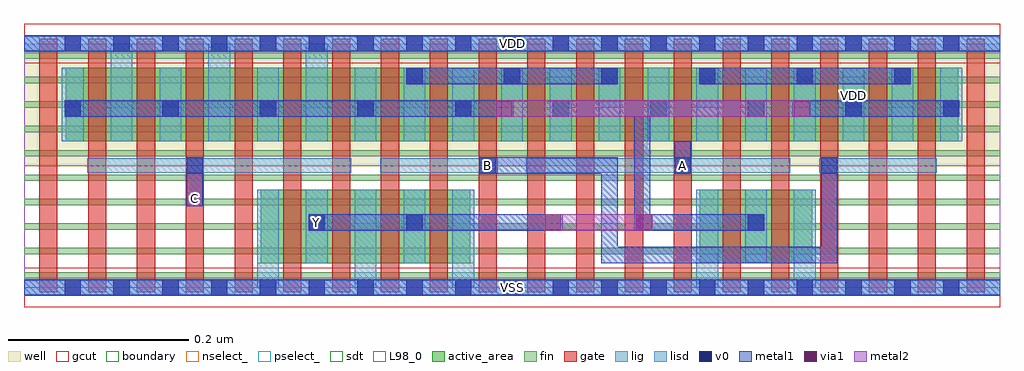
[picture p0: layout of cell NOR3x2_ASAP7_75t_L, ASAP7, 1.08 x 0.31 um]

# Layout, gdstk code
import gdstk
lib = gdstk.Library(unit=1e-6, precision=2.5e-10)
def R(c, l, rs):  # rectangles x0, y0, x1, y1
    for r in rs: c.add(gdstk.rectangle(r[:2], r[2:], *l))
def A(c, l, x, y, w, h, nx, ny, dx, dy):  # array of equal rectangles
    R(c, l, [(x+i*dx, y+j*dy, x+i*dx+w, y+j*dy+h) for i in range(nx) for j in range(ny)])
def P(c, l, *ps):  # polygons
    for p in ps: c.add(gdstk.Polygon(p, *l))
well = (1, 0)
fin = (2, 0)
gate = (7, 0)
gcut = (10, 0)
active_area = (11, 0)
nselect_ = (12, 0)
pselect_ = (13, 0)
lig = (16, 0)
lisd = (17, 0)
v0 = (18, 0)
metal1 = (19, 0)
metal2 = (20, 0)
via1 = (21, 0)
sdt = (88, 0)
L98_0 = (98, 0)
boundary = (100, 0)

nor3x2_asap7_75t_l = lib.new_cell('NOR3x2_ASAP7_75t_L')
R(nor3x2_asap7_75t_l, well, [(0,0.135,1.08,0.27)])
A(nor3x2_asap7_75t_l, fin, 0, 0.01, 1.08, 0.007, 1, 10, 0, 0.027)
A(nor3x2_asap7_75t_l, gate, 0.017, -0.005, 0.02, 0.28, 20, 1, 0.054, 0)
R(nor3x2_asap7_75t_l, gcut, [(0,-0.022,1.08,0.022), (0,0.248,1.08,0.292)])
R(nor3x2_asap7_75t_l, active_area, [(0.262,0.027,0.494,0.108), (0.748,0.027,0.872,0.108), (0.046,0.162,1.034,0.243)])
R(nor3x2_asap7_75t_l, nselect_, [(0,0,1.08,0.135)])
R(nor3x2_asap7_75t_l, pselect_, [(0,0.135,1.08,0.27)])
R(nor3x2_asap7_75t_l, lig, [(0,-0.008,1.08,0.008), (0.07,0.127,0.362,0.143), (0.394,0.127,0.524,0.143), (0.556,0.127,0.848,0.143), (0.88,0.127,1.01,0.143), (0,0.262,1.08,0.278)])
A(nor3x2_asap7_75t_l, lisd, 0.258, 0, 0.024, 0.108, 3, 1, 0.108, 0)
A(nor3x2_asap7_75t_l, lisd, 0.042, 0.162, 0.024, 0.081, 4, 1, 0.108, 0)
A(nor3x2_asap7_75t_l, lisd, 0.096, 0.162, 0.024, 0.108, 3, 1, 0.108, 0)
A(nor3x2_asap7_75t_l, lisd, 0.42, 0.162, 0.024, 0.081, 12, 1, 0.054, 0)
R(nor3x2_asap7_75t_l, lisd, [(0.744,0,0.768,0.108), (0.852,0,0.876,0.108), (0.312,0.027,0.336,0.108), (0.42,0.027,0.444,0.108), (0.798,0.027,0.822,0.108)])
A(nor3x2_asap7_75t_l, v0, 0.045, -0.009, 0.018, 0.018, 19, 2, 0.054, 0.27)
A(nor3x2_asap7_75t_l, v0, 0.045, 0.189, 0.018, 0.018, 10, 1, 0.108, 0)
A(nor3x2_asap7_75t_l, v0, 0.423, 0.225, 0.018, 0.018, 6, 1, 0.108, 0)
R(nor3x2_asap7_75t_l, v0, [(0.315,0.063,0.333,0.081), (0.423,0.063,0.441,0.081), (0.801,0.063,0.819,0.081), (0.18,0.126,0.198,0.144), (0.504,0.126,0.522,0.144), (0.72,0.126,0.738,0.144), (0.882,0.126,0.9,0.144)])
R(nor3x2_asap7_75t_l, metal1, [(0,-0.009,1.08,0.009), (0.315,0.063,0.596,0.081), (0.18,0.09,0.198,0.144), (0.72,0.126,0.738,0.162), (0.045,0.189,0.542,0.207), (0.85,0.189,1.035,0.207), (0.423,0.225,0.657,0.243), (0.747,0.225,0.981,0.243), (0,0.261,1.08,0.279)])
P(nor3x2_asap7_75t_l, metal1, [(0.639,0.027),(0.639,0.126),(0.504,0.126),(0.504,0.144),(0.657,0.144),(0.657,0.045),(0.882,0.045),(0.882,0.144),(0.9,0.144),(0.9,0.027)],
  [(0.675,0.063),(0.675,0.189),(0.585,0.189),(0.585,0.207),(0.819,0.207),(0.819,0.189),(0.693,0.189),(0.693,0.081),(0.819,0.081),(0.819,0.063)])
R(nor3x2_asap7_75t_l, metal2, [(0.576,0.063,0.695,0.081), (0.522,0.189,0.87,0.207)])
R(nor3x2_asap7_75t_l, via1, [(0.576,0.063,0.594,0.081), (0.677,0.063,0.695,0.081), (0.522,0.189,0.54,0.207), (0.852,0.189,0.87,0.207)])
A(nor3x2_asap7_75t_l, sdt, 0.258, 0.027, 0.024, 0.081, 5, 1, 0.054, 0)
A(nor3x2_asap7_75t_l, sdt, 0.744, 0.027, 0.024, 0.081, 3, 1, 0.054, 0)
A(nor3x2_asap7_75t_l, sdt, 0.042, 0.162, 0.024, 0.081, 19, 1, 0.054, 0)
R(nor3x2_asap7_75t_l, L98_0, [(0,0,1.08,0.27)])
R(nor3x2_asap7_75t_l, boundary, [(0,0,1.08,0.27)])
nor3x2_asap7_75t_l.add(gdstk.Label('C', (0.189,0.099), layer=19, texttype=251))
nor3x2_asap7_75t_l.add(gdstk.Label('B', (0.513,0.135), layer=19, texttype=251))
nor3x2_asap7_75t_l.add(gdstk.Label('A', (0.729,0.135), layer=19, texttype=251))
nor3x2_asap7_75t_l.add(gdstk.Label('Y', (0.324,0.072), layer=19, texttype=251))
nor3x2_asap7_75t_l.add(gdstk.Label('VSS', (0.54,0), layer=19, texttype=251))
nor3x2_asap7_75t_l.add(gdstk.Label('VDD', (0.54,0.27), layer=19, texttype=251))
nor3x2_asap7_75t_l.add(gdstk.Label('VDD', (0.918,0.213), layer=1, texttype=251))
nor3x2_asap7_75t_l.add(gdstk.Label('VSS', (1.242,0.213), layer=3, texttype=251))

lib.write_gds('NOR3x2_ASAP7_75t_L.gds')
